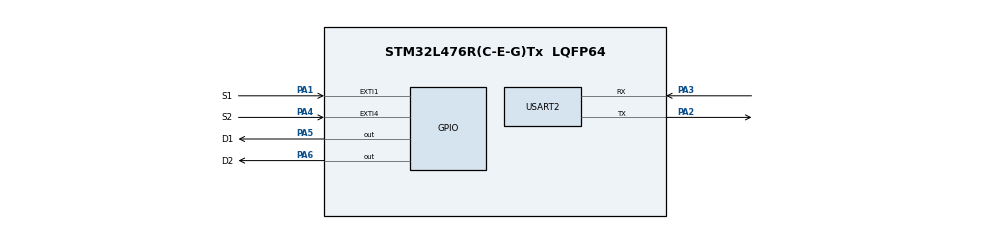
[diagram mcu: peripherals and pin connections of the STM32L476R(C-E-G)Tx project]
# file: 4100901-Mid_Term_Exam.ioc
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Mcu.Family=STM32L4
Mcu.Name=STM32L476R(C-E-G)Tx
Mcu.Package=LQFP64
NVIC.EXTI1_IRQn=true\:0\:0\:false\:false\:true\:true\:true\:true
NVIC.EXTI4_IRQn=true\:0\:0\:false\:false\:true\:true\:true\:true
NVIC.PriorityGroup=NVIC_PRIORITYGROUP_4
NVIC.USART2_IRQn=true\:0\:0\:false\:false\:true\:true\:true\:true
PA1.GPIO_Label=S1
PA1.Signal=GPXTI1
PA2.Mode=Asynchronous
PA2.Signal=USART2_TX
PA3.Mode=Asynchronous
PA3.Signal=USART2_RX
PA4.GPIO_Label=S2
PA4.Signal=GPXTI4
PA5.GPIO_Label=D1
PA5.PinState=GPIO_PIN_SET
PA5.Signal=GPIO_Output
PA6.GPIO_Label=D2
PA6.Signal=GPIO_Output
ProjectManager.HeapSize=0x200
ProjectManager.StackSize=0x400
ProjectManager.TargetToolchain=STM32CubeIDE
RCC.HSE_VALUE=8000000
RCC.HSI_VALUE=16000000
RCC.LSE_VALUE=32768
RCC.MSI_VALUE=4000000
RCC.VCOOutputFreq_Value=32000000
USART2.VirtualMode-Asynchronous=VM_ASYNC
board=custom

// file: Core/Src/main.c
/* USER CODE BEGIN Header */
/**
  ******************************************************************************
  * @file           : main.c
  * @brief          : Main program body
  ******************************************************************************
  * @attention
  *
  * Copyright (c) 2024 STMicroelectronics.
  * All rights reserved.
  *
  * This software is licensed under terms that can be found in the LICENSE file
  * in the root directory of this software component.
  * If no LICENSE file comes with this software, it is provided AS-IS.
  *
  ******************************************************************************
  */
/* USER CODE END Header */
#include "main.h"
#include "math.h"

UART_HandleTypeDef huart2;

/* USER CODE BEGIN PV */
uint8_t s1_press = 0;
uint8_t s2_press = 0;

/* USER CODE END PV */

void SystemClock_Config(void);
static void MX_GPIO_Init(void);
static void MX_USART2_UART_Init(void);

/* USER CODE BEGIN 0 */

void HAL_GPIO_EXTI_Callback(uint16_t GPIO_Pin)
{

  if (GPIO_Pin == S1_Pin) {        // Si se presiona el botón S1 se activa su bandera
	  s1_press = 1;
  }
  if (GPIO_Pin == S2_Pin) {		  // Si se presiona el botón S2 se activa su bandera
	  s2_press = 1;
  }
}

/* USER CODE END 0 */

int main(void)
{

  /* MCU Configuration--------------------------------------------------------*/

  /* Reset of all peripherals, Initializes the Flash interface and the Systick. */
  HAL_Init();

  /* Configure the system clock */
  SystemClock_Config();

  /* Initialize all configured peripherals */
  MX_GPIO_Init();
  MX_USART2_UART_Init();

  /* Infinite loop */
  /* USER CODE BEGIN WHILE */
  uint32_t ult_s1_press = 0;  // para saber cuando se presiono por ultima vez S1
  uint32_t d1_tick = 0;
  uint32_t d1_blink = 0;	  //D1 luz izquierda

  uint32_t ult_s2_press = 0;
  uint32_t d2_blink = 0;      //D2 luz derecha
  uint32_t d2_tick = 0;

  HAL_UART_Transmit(&huart2, "S1 se presionó\r\n", 16, 10);

  while (1)
  {
	  if (s1_press != 0) {													// En el momento que S1 se presiona se averigua si S1 fue presionado mas de una vez en 500 ms para determinar si parpadeara 3 veces o hasta que se presione un boton de nuevo
		  s1_press = 0;														// se iguala a 0, para evitar que entre de nuevo erroneamente
		  HAL_UART_Transmit(&huart2, "S1 se presionó\r\n", 16, 10);
		  d1_blink = 6;														// bandera para parpadear 3 veces usando futuramente un toogle

		   if (HAL_GetTick() - ult_s1_press < 500) {							// Si se presiono una segunda vez en menos de 500 ms pasara a estar intermitente
			  d1_blink = 0xFFFFFFFF;
		  }
		  ult_s1_press = HAL_GetTick();								// guardamos el tiempo de la ultima vez que fue presionado
		  d2_blink = 0;
	  }
	  if (s2_press != 0) {													// En el momento que S2 se presiona se averigua si S2 fue presionado mas de una vez en 500 ms para determinar si parpadeara 3 veces o hasta que se presione un boton de nuevo
		  s2_press = 0;
		  HAL_UART_Transmit(&huart2, "S2 se presionó\r\n", 16, 10);
		  d2_blink = 6;

		  }
		   if (HAL_GetTick() - ult_s2_press < 500) {
			  d2_blink = 0xFFFFFFFF;
		  }
		  ult_s2_press = HAL_GetTick();
		  d1_blink = 0;

  	  if(abs(ult_s2_press - ult_s1_press) <= 500){ // Si ambos botones tienen una diferencia menor o igual a 500 ms, es porque se presionaron juntos o con una diferencia de tiempo menor o igual a ese valor
 		  d1_blink = 0xFFFFFFFF;
 		  d2_blink = 0xFFFFFFFF;
 	  }
	  if (d1_blink > 0) {											// Si se presiono el boton, sabemos que d1_blink es mayor a 0, por lo tanto entrara y comenzara a cambiar de estado cada 250 ms (2 Hz)
		  if (d1_tick < HAL_GetTick()){
			  HAL_GPIO_TogglePin(D1_GPIO_Port, D1_Pin);				//Cambio de estado en el Pin D1
			  d1_tick = HAL_GetTick() + 250;
			  d1_blink--;											// Restamos cada cambio de estado asegurando así que termine para el caso que se presiono solo 1 vez, de lo contrario seguira parpadeando
		  }
	  }
	  if (d2_blink > 0) {
		  if (d2_tick < HAL_GetTick()){
			  HAL_GPIO_TogglePin(D2_GPIO_Port, D2_Pin);
			  d2_tick = HAL_GetTick() + 250;
			  d2_blink--;
		  }
	  }
    /* USER CODE END WHILE */

  }
}

void SystemClock_Config(void)
{
  RCC_OscInitTypeDef RCC_OscInitStruct = {0};
  RCC_ClkInitTypeDef RCC_ClkInitStruct = {0};

  /** Configure the main internal regulator output voltage
  */
  if (HAL_PWREx_ControlVoltageScaling(PWR_REGULATOR_VOLTAGE_SCALE1) != HAL_OK)
  {
    Error_Handler();
  }

  /** Initializes the RCC Oscillators according to the specified parameters
  * in the RCC_OscInitTypeDef structure.
  */
  RCC_OscInitStruct.OscillatorType = RCC_OSCILLATORTYPE_MSI;
  RCC_OscInitStruct.MSIState = RCC_MSI_ON;
  RCC_OscInitStruct.MSICalibrationValue = 0;
  RCC_OscInitStruct.MSIClockRange = RCC_MSIRANGE_6;
  RCC_OscInitStruct.PLL.PLLState = RCC_PLL_NONE;
  if (HAL_RCC_OscConfig(&RCC_OscInitStruct) != HAL_OK)
  {
    Error_Handler();
  }

  /** Initializes the CPU, AHB and APB buses clocks
  */
  RCC_ClkInitStruct.ClockType = RCC_CLOCKTYPE_HCLK|RCC_CLOCKTYPE_SYSCLK
                              |RCC_CLOCKTYPE_PCLK1|RCC_CLOCKTYPE_PCLK2;
  RCC_ClkInitStruct.SYSCLKSource = RCC_SYSCLKSOURCE_MSI;
  RCC_ClkInitStruct.AHBCLKDivider = RCC_SYSCLK_DIV1;
  RCC_ClkInitStruct.APB1CLKDivider = RCC_HCLK_DIV1;
  RCC_ClkInitStruct.APB2CLKDivider = RCC_HCLK_DIV1;

  if (HAL_RCC_ClockConfig(&RCC_ClkInitStruct, FLASH_LATENCY_0) != HAL_OK)
  {
    Error_Handler();
  }
}

static void MX_USART2_UART_Init(void)
{

  huart2.Instance = USART2;
  huart2.Init.BaudRate = 115200;
  huart2.Init.WordLength = UART_WORDLENGTH_8B;
  huart2.Init.StopBits = UART_STOPBITS_1;
  huart2.Init.Parity = UART_PARITY_NONE;
  huart2.Init.Mode = UART_MODE_TX_RX;
  huart2.Init.HwFlowCtl = UART_HWCONTROL_NONE;
  huart2.Init.OverSampling = UART_OVERSAMPLING_16;
  huart2.Init.OneBitSampling = UART_ONE_BIT_SAMPLE_DISABLE;
  huart2.AdvancedInit.AdvFeatureInit = UART_ADVFEATURE_NO_INIT;
  if (HAL_UART_Init(&huart2) != HAL_OK)
  {
    Error_Handler();
  }

}

static void MX_GPIO_Init(void)
{
  GPIO_InitTypeDef GPIO_InitStruct = {0};

  /* GPIO Ports Clock Enable */
  __HAL_RCC_GPIOA_CLK_ENABLE();

  /*Configure GPIO pin Output Level */
  HAL_GPIO_WritePin(D1_GPIO_Port, D1_Pin, GPIO_PIN_SET);

  /*Configure GPIO pin Output Level */
  HAL_GPIO_WritePin(D2_GPIO_Port, D2_Pin, GPIO_PIN_RESET);

  /*Configure GPIO pins : S1_Pin S2_Pin */
  GPIO_InitStruct.Pin = S1_Pin|S2_Pin;
  GPIO_InitStruct.Mode = GPIO_MODE_IT_RISING;
  GPIO_InitStruct.Pull = GPIO_NOPULL;
  HAL_GPIO_Init(GPIOA, &GPIO_InitStruct);

  /*Configure GPIO pins : D1_Pin D2_Pin */
  GPIO_InitStruct.Pin = D1_Pin|D2_Pin;
  GPIO_InitStruct.Mode = GPIO_MODE_OUTPUT_PP;
  GPIO_InitStruct.Pull = GPIO_NOPULL;
  GPIO_InitStruct.Speed = GPIO_SPEED_FREQ_LOW;
  HAL_GPIO_Init(GPIOA, &GPIO_InitStruct);

  /* EXTI interrupt init*/
  HAL_NVIC_SetPriority(EXTI1_IRQn, 0, 0);
  HAL_NVIC_EnableIRQ(EXTI1_IRQn);

  HAL_NVIC_SetPriority(EXTI4_IRQn, 0, 0);
  HAL_NVIC_EnableIRQ(EXTI4_IRQn);

}

void Error_Handler(void)
{
  __disable_irq();
  while (1)
  {
  }
}
